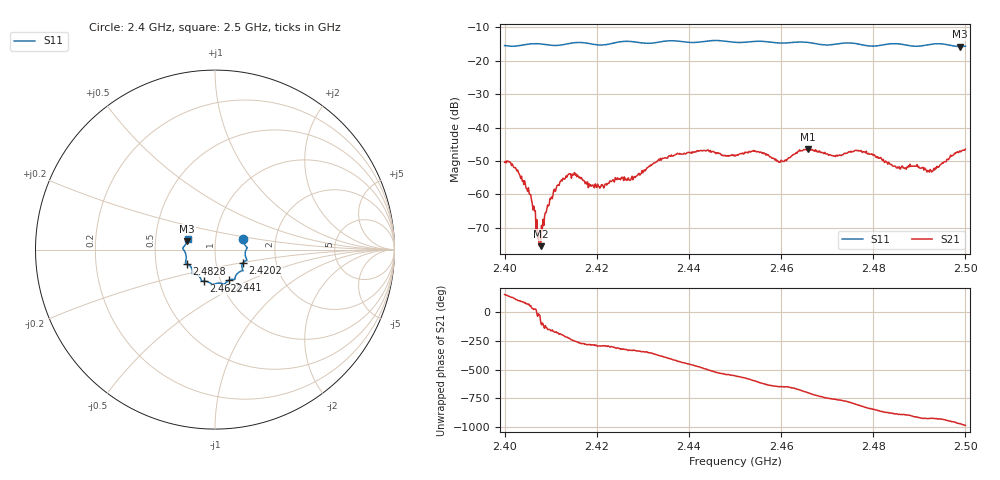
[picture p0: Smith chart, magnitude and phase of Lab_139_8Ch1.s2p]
# Hz S RI R 50
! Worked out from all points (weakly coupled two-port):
!   601 points, 2.4 GHz to 2.5 GHz, reference 50 ohm
!   highest |S21| = -46.41 dB at 2.4658 GHz (marker M1); lowest = -75.5 dB at 2.4078 GHz (marker M2)
!   lowest |S11| = -15.8 dB at 2.4988 GHz (marker M3), VSWR 1.39, Z = 36.4 + j3.41 ohm
!   |S11| at or under -10 dB: start of sweep to end of sweep
!   S12 and S22 are empty: the file has one direction only
!   S11 on the Smith chart (normalised r, x): 2.4 GHz: 1.36, +0.17; 2.4202 GHz: 1.36, -0.20; 2.441 GHz: 1.10, -0.39; 2.4622 GHz: 0.83, -0.30; 2.4828 GHz: 0.72, -0.12; 2.5 GHz: 0.73, +0.09
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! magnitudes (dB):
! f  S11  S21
! 2.4 GHz  -15.5  -50.4
! 2.4048 GHz  -15.1  -58.3
! 2.4062 GHz  -14.9  -64.6
! 2.4073 GHz  -14.9  -71.6
! 2.4078 GHz  -15.0  -75.5
! 2.4093 GHz  -15.2  -63.1
! 2.4118 GHz  -15.4  -57.3
! 2.4167 GHz  -14.6  -54.9
! 2.4202 GHz  -15.3  -56.9
! 2.4275 GHz  -14.2  -55.1
! 2.4333 GHz  -14.5  -49.8
! 2.441 GHz  -14.6  -47.4
! 2.45 GHz  -14.5  -48.5
! 2.4622 GHz  -14.6  -48.6
! 2.4658 GHz  -14.5  -46.4
! 2.4667 GHz  -14.7  -46.5
! 2.4768 GHz  -15.0  -47.0
! 2.4828 GHz  -15.1  -50.2
! 2.4833 GHz  -15.0  -50.4
! 2.4925 GHz  -15.1  -52.8
! 2.4988 GHz  -15.8  -47.0
! 2.5 GHz  -15.7  -46.4
